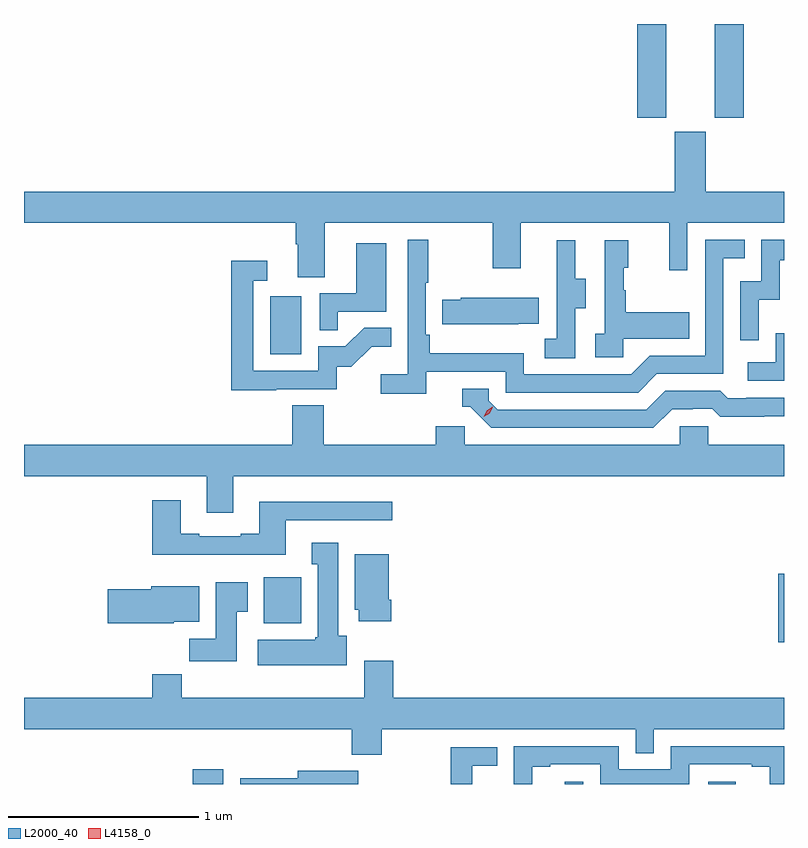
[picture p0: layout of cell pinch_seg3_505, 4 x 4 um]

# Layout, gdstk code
import gdstk
lib = gdstk.Library(unit=1e-6, precision=1e-09)
def R(c, l, rs):  # rectangles x0, y0, x1, y1
    for r in rs: c.add(gdstk.rectangle(r[:2], r[2:], *l))
def P(c, l, *ps):  # polygons
    for p in ps: c.add(gdstk.Polygon(p, *l))
L2000_40 = (2000, 40)
L4158_0 = (4158, 0)

pinch_seg3_505 = lib.new_cell('pinch_seg3_505')
R(pinch_seg3_505, L2000_40, [(964.778,672.655,964.939,672.733), (966.737,672.655,966.834,672.667), (967.493,672.655,967.637,672.667), (967.862,673.402,967.891,673.762), (965.153,673.502,965.35,673.744), (965.186,674.916,965.35,675.223), (967.118,676.161,967.27,676.655), (967.526,676.161,967.679,676.655)])
P(pinch_seg3_505, L2000_40, [(965.473,675.608),(966.358,675.608),(966.358,675.369),(966.505,675.369),(966.505,675.608),(967.286,675.608),(967.286,675.36),(967.383,675.36),(967.383,675.608),(967.891,675.608),(967.891,675.772),(967.48,675.772),(967.48,676.089),(967.316,676.089),(967.316,675.772),(963.891,675.772),(963.891,675.608),(965.321,675.608),(965.321,675.496),(965.333,675.496),(965.333,675.322),(965.473,675.322)],
  [(966.008,674.826),(966.426,674.826),(966.426,674.715),(967.123,674.715),(967.222,674.814),(967.572,674.814),(967.572,675.423),(967.685,675.423),(967.685,675.519),(967.476,675.519),(967.476,674.91),(967.185,674.91),(967.086,674.811),(966.522,674.811),(966.522,674.923),(966.026,674.923),(966.026,675.019),(966.006,675.019),(966.006,675.292),(966.019,675.292),(966.019,675.52),(965.91,675.52),(965.91,674.812),(965.769,674.812),(965.769,674.71),(966.008,674.71)],
  [(967.758,675.203),(967.868,675.203),(967.868,675.411),(967.891,675.411),(967.891,675.519),(967.77,675.519),(967.77,675.3),(967.662,675.3),(967.662,674.991),(967.758,674.991)],
  [(967.044,674.999),(967.391,674.999),(967.391,675.139),(967.057,675.139),(967.057,675.254),(967.047,675.254),(967.047,675.372),(967.072,675.372),(967.072,675.517),(966.948,675.517),(966.948,675.026),(966.897,675.026),(966.897,674.901),(967.044,674.901)],
  [(966.792,675.16),(966.847,675.16),(966.847,675.315),(966.793,675.315),(966.793,675.517),(966.695,675.517),(966.695,675.303),(966.696,675.303),(966.696,674.999),(966.633,674.999),(966.633,674.896),(966.792,674.896)],
  [(965.543,675.141),(965.797,675.141),(965.797,675.502),(965.639,675.502),(965.639,675.237),(965.448,675.237),(965.448,675.043),(965.543,675.043)],
  [(965.219,674.733),(965.538,674.733),(965.538,674.85),(965.614,674.85),(965.721,674.957),(965.825,674.957),(965.825,675.056),(965.681,675.056),(965.583,674.958),(965.439,674.958),(965.439,674.829),(965.097,674.829),(965.097,675.303),(965.17,675.303),(965.17,675.409),(964.981,675.409),(964.981,674.728),(965.219,674.728)],
  [(966.491,675.077),(966.599,675.077),(966.599,675.214),(966.189,675.214),(966.189,675.204),(966.091,675.204),(966.091,675.074),(966.491,675.074)],
  [(967.891,675.028),(967.848,675.028),(967.848,674.874),(967.701,674.874),(967.701,674.778),(967.891,674.778)],
  [(967.303,674.628),(967.41,674.628),(967.41,674.631),(967.513,674.631),(967.555,674.589),(967.788,674.589),(967.788,674.591),(967.891,674.591),(967.891,674.688),(967.693,674.688),(967.693,674.685),(967.594,674.685),(967.555,674.724),(967.266,674.724),(967.167,674.625),(966.384,674.625),(966.336,674.673),(966.336,674.736),(966.197,674.736),(966.197,674.64),(966.24,674.64),(966.351,674.529),(967.204,674.529)],
  [(964.993,674.276),(967.891,674.276),(967.891,674.44),(967.491,674.44),(967.491,674.538),(967.341,674.538),(967.341,674.44),(966.21,674.44),(966.21,674.538),(966.059,674.538),(966.059,674.44),(965.468,674.44),(965.468,674.648),(965.303,674.648),(965.303,674.44),(963.891,674.44),(963.891,674.276),(964.853,674.276),(964.853,674.082),(964.993,674.082)],
  [(965.269,674.043),(965.83,674.043),(965.83,674.14),(965.129,674.14),(965.129,673.972),(965.033,673.972),(965.033,673.959),(964.813,673.959),(964.813,673.972),(964.717,673.972),(964.717,674.149),(964.565,674.149),(964.565,673.862),(965.269,673.862)],
  [(965.59,673.434),(965.545,673.434),(965.545,673.924),(965.405,673.924),(965.405,673.811),(965.438,673.811),(965.438,673.428),(965.425,673.428),(965.425,673.414),(965.121,673.414),(965.121,673.28),(965.59,673.28)],
  [(965.825,673.624),(965.812,673.624),(965.812,673.864),(965.633,673.864),(965.633,673.572),(965.654,673.572),(965.654,673.512),(965.825,673.512)],
  [(965.011,673.561),(965.068,673.561),(965.068,673.717),(964.901,673.717),(964.901,673.42),(964.762,673.42),(964.762,673.302),(965.011,673.302)],
  [(964.68,673.508),(964.813,673.508),(964.813,673.696),(964.562,673.696),(964.562,673.679),(964.332,673.679),(964.332,673.502),(964.68,673.502)],
  [(965.775,672.944),(967.11,672.944),(967.11,672.817),(967.206,672.817),(967.206,672.944),(967.891,672.944),(967.891,673.108),(965.834,673.108),(965.834,673.303),(965.681,673.303),(965.681,673.108),(964.721,673.108),(964.721,673.232),(964.565,673.232),(964.565,673.108),(963.891,673.108),(963.891,672.944),(965.615,672.944),(965.615,672.809),(965.775,672.809)],
  [(966.565,672.747),(966.661,672.747),(966.661,672.759),(966.924,672.759),(966.924,672.655),(967.392,672.655),(967.392,672.759),(967.721,672.759),(967.721,672.747),(967.817,672.747),(967.817,672.655),(967.891,672.655),(967.891,672.855),(967.296,672.855),(967.296,672.732),(967.02,672.732),(967.02,672.855),(966.468,672.855),(966.468,672.655),(966.565,672.655)],
  [(966.249,672.752),(966.383,672.752),(966.383,672.849),(966.138,672.849),(966.138,672.655),(966.249,672.655)],
  [(965.651,672.724),(965.333,672.724),(965.333,672.686),(965.028,672.686),(965.028,672.655),(965.651,672.655)])
P(pinch_seg3_505, L4158_0, [(966.311,674.588),(966.311,674.588),(966.328,674.621),(966.359,674.64),(966.359,674.64),(966.359,674.64),(966.342,674.607),(966.312,674.588)])

lib.write_gds('pinch_seg3_505.gds')
